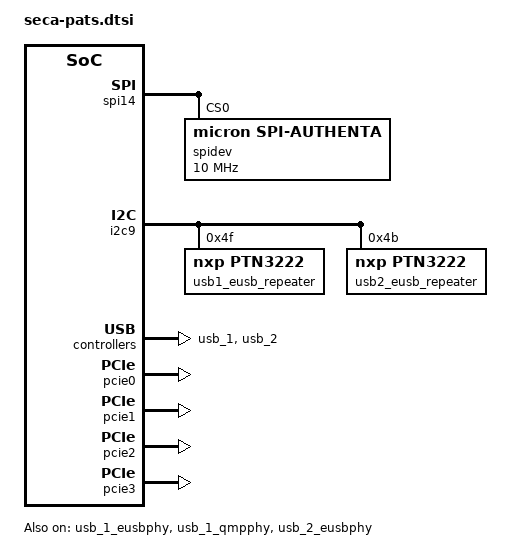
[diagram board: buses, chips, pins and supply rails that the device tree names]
// SPDX-License-Identifier: BSD-3-Clause
/*
 * Copyright (c) Qualcomm Technologies, Inc. and/or its subsidiaries.
 */

&spi14 {
	status = "okay";
	spidev@0 {
		compatible = "micron,spi-authenta";
		reg = <0>;
		spi-max-frequency = <10000000>;
	};
};

&i2c9 {
	usb1_eusb_repeater: redriver@4f {
		compatible = "nxp,ptn3222";
		reg = <0x4f>;
		#phy-cells = <0>;
		nxp,override-param = < 0x7 0x2
				0x8 0x62 >;
	};

	usb2_eusb_repeater: redriver@4b {
		compatible = "nxp,ptn3222";
		reg = <0x4b>;
		#phy-cells = <0>;
		nxp,override-param = < 0x7 0x2
				0x8 0x62 >;
	};

};

&usb_1_eusbphy {
	status = "okay";
	phys = <&usb1_eusb_repeater>;
};

&usb_1_qmpphy {
	status = "okay";
};

&usb_1 {
	status = "okay";
};

&usb_2_eusbphy {
	status = "okay";
	phys = <&usb2_eusb_repeater>;
};

&usb_2 {
	status = "okay";
};

&pcie0 {
	power-domains = <&scmi5_pd 0>;
	power-domain-names = "power";
	status = "okay";
};

&pcie1 {
	power-domains = <&scmi6_pd 0>;
	power-domain-names = "power";
	status = "okay";
};

&pcie2 {
	power-domains = <&scmi32_pd 0>;
	power-domain-names = "power";
	status = "okay";
};

&pcie3 {
	power-domains = <&scmi33_pd 0>;
	power-domain-names = "power";
	status = "okay";
};

